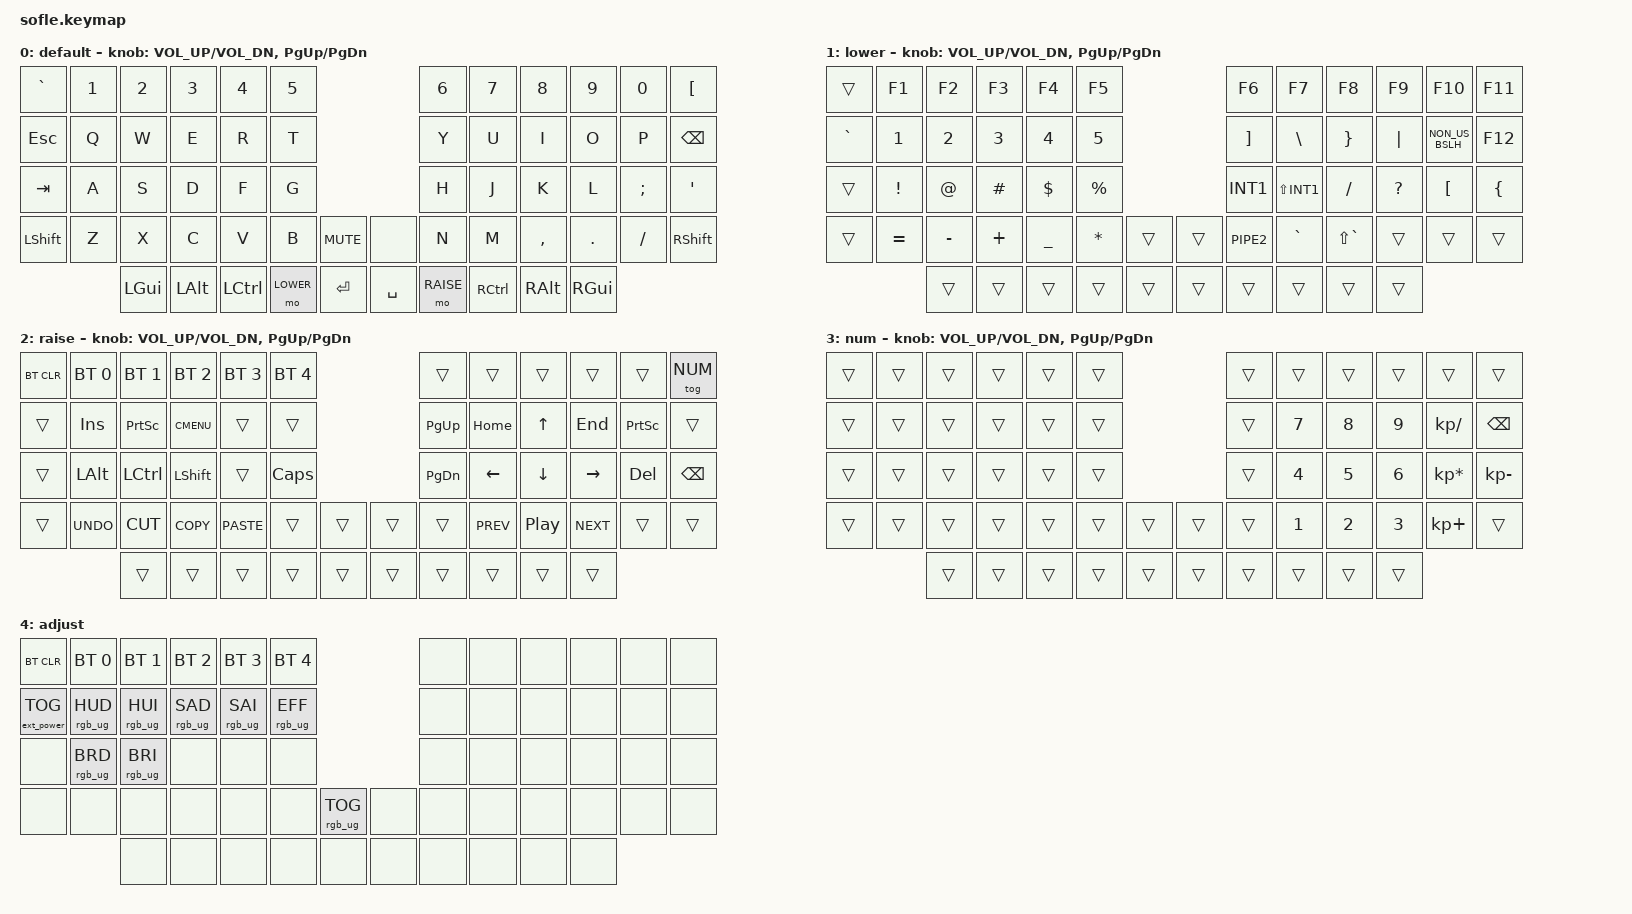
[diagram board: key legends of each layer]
/*
 * Copyright (c) 2020 The ZMK Contributors
 *
 * SPDX-License-Identifier: MIT
 */

/*
 * Layout de destino: ABNT2 (X11 `br`, pc105).
 *
 * O ZMK envia scancode, nao caractere: cada `&kp` passa pela tabela do ABNT2
 * antes de virar texto. Os comentarios abaixo mostram o que SAI na tela, nao o
 * nome do keycode. Equivalencias que valem lembrar ao editar:
 *
 *   GRAVE -> ' "        LBKT -> (agudo) (crase)   RBKT -> [ {
 *   SEMI  -> c-cedilha  SQT  -> (til) (circunf.)  BSLH -> ] }
 *   FSLH  -> ; :        INT1 -> / ? graus         NON_US_BSLH -> \ |
 *
 * As duas ultimas nao existem no ANSI: sao as teclas extras do ABNT2 (105
 * teclas). Sem elas, `/ ? \ |` ficam inalcancaveis no Sofle.
 */

#include <behaviors.dtsi>
#include <dt-bindings/zmk/keys.h>
#include <dt-bindings/zmk/bt.h>
#include <dt-bindings/zmk/rgb.h>
#include <dt-bindings/zmk/ext_power.h>

#define BASE 0
#define LOWER 1
#define RAISE 2
#define NUM 3
#define ADJUST 4

/ {

   // Activate ADJUST layer by pressing raise and lower
    conditional_layers {
        compatible = "zmk,conditional-layers";
        adjust_layer {
            if-layers = <LOWER RAISE>;
            then-layer = <ADJUST>;
        };
    };

    keymap {
        compatible = "zmk,keymap";

        default_layer {
            display-name = "default";
// ------------------------------------------------------------------------------------------------------------
// |   '   |  1  |  2  |  3   |  4   |  5   |                   |  6   |  7    |  8    |  9   |   0   | AGUDO |
// |  ESC  |  Q  |  W  |  E   |  R   |  T   |                   |  Y   |  U    |  I    |  O   |   P   | BKSPC |
// |  TAB  |  A  |  S  |  D   |  F   |  G   |                   |  H   |  J    |  K    |  L   |   C,  |  TIL  |
// | SHIFT |  Z  |  X  |  C   |  V   |  B   |  MUTE  |  |       |  N   |  M    |  ,    |  .   |   ;   | SHIFT |
//               | GUI | ALT  | CTRL | LOWER|  ENTER |  | SPACE | RAISE| CTRL  | ALT   | GUI  |
//
// As tres fileiras alfabeticas ja coincidem com o ABNT2: ... L C-cedilha (til),
// e ... , . ; na de baixo. O agudo entrou no canto superior direito porque sem
// ele nao se escreve `e-agudo`/`a-agudo`; o `&tog NUM` que estava ali foi para
// a camada RAISE.
            bindings = <
&kp GRAVE &kp N1 &kp N2   &kp N3   &kp N4    &kp N5                           &kp N6 &kp N7    &kp N8    &kp N9   &kp N0   &kp LBKT
&kp ESC   &kp Q  &kp W    &kp E    &kp R     &kp T                            &kp Y  &kp U     &kp I     &kp O    &kp P    &kp BSPC
&kp TAB   &kp A  &kp S    &kp D    &kp F     &kp G                            &kp H  &kp J     &kp K     &kp L    &kp SEMI &kp SQT
&kp LSHFT &kp Z  &kp X    &kp C    &kp V     &kp B      &kp C_MUTE &none      &kp N  &kp M     &kp COMMA &kp DOT  &kp FSLH &kp RSHFT
                 &kp LGUI &kp LALT &kp LCTRL &mo LOWER  &kp RET    &kp SPACE  &mo RAISE  &kp RCTRL &kp RALT  &kp RGUI
            >;

            sensor-bindings = <&inc_dec_kp C_VOL_UP C_VOL_DN &inc_dec_kp PG_UP PG_DN>;
        };

        lower_layer {
            display-name = "lower";
// ------------------------------------------------------------------------------------------------------------
// |       |  F1 |  F2 |  F3  |  F4  |  F5  |                   |  F6  |  F7   |  F8   |  F9  |  F10  |  F11  |
// |   '   |  1  |  2  |  3   |  4   |  5   |                   |  [   |  ]    |  {    |  }   |   \   |  F12  |
// |       |  !  |  @  |  #   |  $   |  %   |                   |  /   |  ?    |  ;    |  :   | AGUDO | CRASE |
// |       |  =  |  -  |  +   |  _   |  *   |        |  |       |  |   |  '    |  "    |      |       |       |
//               |     |      |      |      |        |  |       |      |       |       |      |
//
// `& ^ ( )` nao aparecem aqui: no ABNT2 saem com Shift na fileira de numeros da
// camada BASE, igual a um teclado de 105 teclas. O circunflexo e Shift+(til).
            bindings = <
&trans    &kp F1    &kp F2    &kp F3   &kp F4   &kp F5                      &kp F6           &kp F7    &kp F8   &kp F9    &kp F10         &kp F11
&kp GRAVE &kp N1    &kp N2    &kp N3   &kp N4   &kp N5                      &kp RBKT         &kp BSLH  &kp RBRC &kp PIPE  &kp NON_US_BSLH &kp F12
&trans    &kp EXCL  &kp AT    &kp HASH &kp DLLR &kp PRCNT                   &kp INT1         &kp LS(INT1) &kp FSLH &kp QMARK &kp LBKT     &kp LBRC
&trans    &kp EQUAL &kp MINUS &kp PLUS &kp UNDER &kp ASTRK &trans  &trans   &kp PIPE2        &kp GRAVE &kp LS(GRAVE) &trans &trans        &trans
                    &trans    &trans   &trans   &trans     &trans  &trans   &trans           &trans    &trans   &trans
            >;

            sensor-bindings = <&inc_dec_kp C_VOL_UP C_VOL_DN &inc_dec_kp PG_UP PG_DN>;
        };

        raise_layer {
            display-name = "raise";
// ------------------------------------------------------------------------------------------------------------
// | BTCLR | BT1  | BT2  |  BT3  |  BT4  |  BT5 |                |      |      |       |      |       |  NUM  |
// |       | INS  | PSCR | GUI   |       |      |                | PGUP | HOME |   ^   | END  | PSCR  |       |
// |       | ALT  | CTRL | SHIFT |       | CAPS |                | PGDN |   <- |   v   |  ->  |  DEL  | BKSPC |
// |       | UNDO | CUT  | COPY  | PASTE |      |      |  |      | PREV | PLAY | NEXT  |      |       |
//                |      |       |       |      |      |  |      |      |      |       |      |
            bindings = <
&bt BT_CLR &bt BT_SEL 0 &bt BT_SEL 1 &bt BT_SEL 2 &bt BT_SEL 3 &bt BT_SEL 4                  &trans    &trans    &trans   &trans    &trans  &tog NUM
&trans     &kp INS      &kp PSCRN    &kp K_CMENU  &trans       &trans                        &kp PG_UP &kp HOME  &kp UP   &kp END   &kp PSCRN  &trans
&trans     &kp LALT     &kp LCTRL    &kp LSHFT    &trans       &kp CLCK                      &kp PG_DN &kp LEFT  &kp DOWN &kp RIGHT &kp DEL &kp BSPC
&trans     &kp K_UNDO   &kp K_CUT    &kp K_COPY   &kp K_PASTE  &trans        &trans  &trans  &trans    &kp C_PREV       &kp C_PLAY_PAUSE &kp C_NEXT   &trans    &trans
                         &trans       &trans       &trans       &trans        &trans  &trans  &trans    &trans    &trans   &trans
            >;

            sensor-bindings = <&inc_dec_kp C_VOL_UP C_VOL_DN &inc_dec_kp PG_UP PG_DN>;
        };

        num_layer {
            display-name = "num";
// ------------------------------------------------------------------------------------------------------------
// Right-half numpad-style overlay; everything else is transparent to avoid conflicts
// |       |      |      |      |      |      |                   |      |      |      |      |      |       |
// |       |      |      |      |      |      |                   |      |  7   |  8   |  9   |   /  | BKSPC |
// |       |      |      |      |      |      |                   |      |  4   |  5   |  6   |   *  |   -   |
// |       |      |      |      |      |      |        |  |       |      |  1   |  2   |  3   |   +  |       |
//                |      |      |      |      |        |  |       |      |      |      |      |
//
// Os operadores usam os keycodes do teclado numerico (KP_*), que nao passam
// pela tabela do layout: `&kp FSLH` daria `;` no ABNT2, `&kp KP_DIVIDE` da `/`.
            bindings = <
&trans    &trans   &trans   &trans   &trans   &trans                         &trans    &trans   &trans   &trans   &trans   &trans
&trans    &trans   &trans   &trans   &trans   &trans                         &trans    &kp N7   &kp N8   &kp N9   &kp KP_DIVIDE &kp BSPC
&trans    &trans   &trans   &trans   &trans   &trans                         &trans    &kp N4   &kp N5   &kp N6   &kp KP_MULTIPLY &kp KP_MINUS
&trans    &trans   &trans   &trans   &trans   &trans     &trans   &trans    &trans    &kp N1   &kp N2   &kp N3   &kp KP_PLUS  &trans
                   &trans   &trans   &trans   &trans     &trans   &trans    &trans    &trans   &trans   &trans
            >;

            sensor-bindings = <&inc_dec_kp C_VOL_UP C_VOL_DN &inc_dec_kp PG_UP PG_DN>;
        };

        adjust_layer {
// ----------------------------------------------------------------------------------------------------------------------------
// | BTCLR  |  BT1    |  BT2    |   BT3   |   BT4   |   BT5   |                  |      |      |       |      |       |       |
// | EXTPWR | RGB_HUD | RGB_HUI | RGB_SAD | RGB_SAI | RGB_EFF |                  |      |      |       |      |       |       |
// |        | RGB_BRD | RGB_BRI |         |         |         |                  |      |      |       |      |       |       |
// |        |         |         |         |         |         | RGB_TOG | |      |      |      |       |      |       |       |
//                    |         |         |         |         |         | |      |      |      |       |      |
            display-name = "adjust";
            bindings = <
&bt BT_CLR        &bt BT_SEL 0    &bt BT_SEL 1    &bt BT_SEL 2    &bt BT_SEL 3    &bt BT_SEL 4                            &none &none &none &none &none &none
&ext_power EP_TOG &rgb_ug RGB_HUD &rgb_ug RGB_HUI &rgb_ug RGB_SAD &rgb_ug RGB_SAI &rgb_ug RGB_EFF                         &none &none &none &none &none &none
&none             &rgb_ug RGB_BRD &rgb_ug RGB_BRI &none           &none           &none                                   &none &none &none &none &none &none
&none             &none           &none           &none           &none           &none            &rgb_ug RGB_TOG &none  &none &none &none &none &none &none
                                  &none           &none           &none           &none            &none           &none  &none &none &none &none
            >;
        };

    };
};
